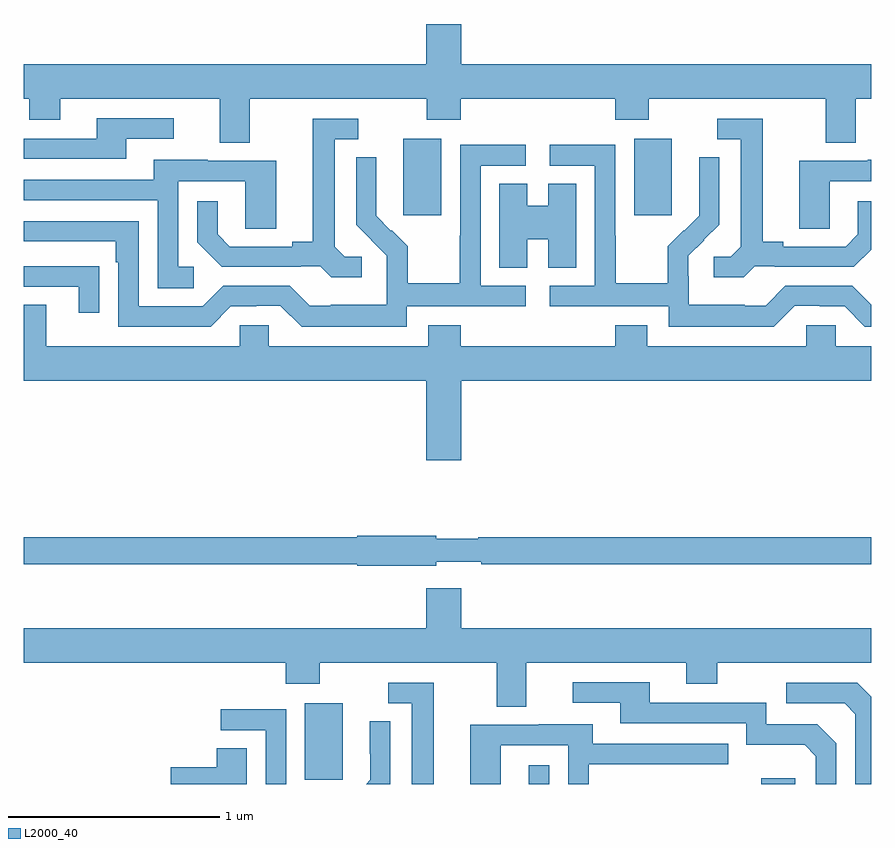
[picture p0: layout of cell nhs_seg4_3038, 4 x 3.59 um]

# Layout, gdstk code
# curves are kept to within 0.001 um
import gdstk
lib = gdstk.Library(unit=1e-6, precision=1e-09)
def R(c, l, rs):  # rectangles x0, y0, x1, y1
    for r in rs: c.add(gdstk.rectangle(r[:2], r[2:], *l))
def P(c, l, *ps):  # polygons
    for p in ps: c.add(gdstk.Polygon(p, *l))
L2000_40 = (2000, 40)

nhs_seg4_3038 = lib.new_cell('nhs_seg4_3038')
R(nhs_seg4_3038, L2000_40, [(273.383,810.9,273.48,810.988), (274.481,810.9,274.642,810.928), (272.327,810.921,272.506,811.282), (272.792,813.585,272.971,813.946), (273.881,813.585,274.06,813.946)])
P(nhs_seg4_3038, L2000_40, [(272.065,814.136),(272.902,814.136),(272.902,814.037),(273.062,814.037),(273.062,814.136),(273.791,814.136),(273.791,814.037),(273.951,814.037),(273.951,814.136),(274.787,814.136),(274.787,813.928),(274.927,813.928),(274.927,814.136),(275,814.136),(275,814.3),(273.064,814.3),(273.064,814.489),(272.9,814.489),(272.9,814.3),(271,814.3),(271,814.136),(271.024,814.136),(271.024,814.037),(271.171,814.037),(271.171,814.136),(271.925,814.136),(271.925,813.928),(272.065,813.928)],
  [(271.483,813.948),(271.708,813.948),(271.708,814.044),(271.343,814.044),(271.343,813.948),(271,813.948),(271,813.852),(271.483,813.852)],
  [(274.452,813.345),(274.546,813.345),(274.546,813.342),(274.918,813.342),(275,813.424),(275,813.652),(274.937,813.652),(274.937,813.495),(274.88,813.438),(274.585,813.438),(274.585,813.461),(274.489,813.461),(274.489,814.041),(274.275,814.041),(274.275,813.945),(274.385,813.945),(274.385,813.437),(274.338,813.39),(274.257,813.39),(274.257,813.293),(274.4,813.293)],
  [(272.596,813.39),(272.514,813.39),(272.467,813.437),(272.467,813.945),(272.578,813.945),(272.578,814.041),(272.363,814.041),(272.363,813.461),(272.267,813.461),(272.267,813.438),(271.972,813.438),(271.915,813.495),(271.915,813.652),(271.818,813.652),(271.818,813.458),(271.934,813.342),(272.306,813.342),(272.306,813.345),(272.4,813.345),(272.452,813.293),(272.596,813.293)],
  [(274.641,813.159),(274.757,813.159),(274.757,813.156),(274.875,813.156),(274.971,813.06),(275,813.06),(275,813.163),(274.911,813.252),(274.596,813.252),(274.503,813.159),(274.403,813.159),(274.403,813.163),(274.14,813.163),(274.14,813.297),(274.138,813.297),(274.138,813.394),(274.284,813.542),(274.284,813.86),(274.188,813.86),(274.188,813.706),(274.19,813.706),(274.19,813.584),(274.119,813.513),(274.116,813.516),(274.039,813.439),(274.039,813.265),(273.795,813.265),(273.795,813.488),(273.792,813.488),(273.792,813.918),(273.483,813.918),(273.483,813.819),(273.696,813.819),(273.696,813.252),(273.483,813.252),(273.483,813.156),(274.044,813.156),(274.044,813.059),(274.541,813.059)],
  [(272.808,813.156),(273.37,813.156),(273.37,813.252),(273.156,813.252),(273.156,813.819),(273.37,813.819),(273.37,813.918),(273.06,813.918),(273.06,813.488),(273.058,813.488),(273.058,813.265),(272.813,813.265),(272.813,813.439),(272.736,813.516),(272.733,813.513),(272.663,813.584),(272.664,813.86),(272.568,813.86),(272.568,813.542),(272.714,813.394),(272.714,813.297),(272.712,813.297),(272.712,813.163),(272.449,813.163),(272.449,813.159),(272.349,813.159),(272.256,813.252),(271.941,813.252),(271.845,813.156),(271.542,813.156),(271.542,813.558),(271,813.558),(271,813.462),(271.433,813.462),(271.433,813.365),(271.446,813.365),(271.446,813.06),(271.881,813.06),(271.977,813.156),(272.096,813.156),(272.096,813.159),(272.211,813.159),(272.311,813.059),(272.808,813.059)],
  [(274.806,813.747),(275,813.747),(275,813.847),(274.985,813.847),(274.985,813.843),(274.661,813.843),(274.661,813.523),(274.806,813.523)],
  [(271.801,813.342),(271.728,813.342),(271.728,813.747),(272.046,813.747),(272.046,813.523),(272.191,813.523),(272.191,813.843),(271.867,813.843),(271.867,813.847),(271.613,813.847),(271.613,813.753),(271,813.753),(271,813.657),(271.632,813.657),(271.632,813.241),(271.801,813.241)],
  [(273.376,813.473),(273.476,813.473),(273.476,813.337),(273.607,813.337),(273.607,813.734),(273.476,813.734),(273.476,813.631),(273.376,813.631),(273.376,813.734),(273.245,813.734),(273.245,813.337),(273.376,813.337)],
  [(271.355,813.344),(271.253,813.344),(271.253,813.345),(271,813.345),(271,813.249),(271.259,813.249),(271.259,813.126),(271.355,813.126)],
  [(273.064,812.804),(275,812.804),(275,812.968),(274.833,812.968),(274.833,813.066),(274.695,813.066),(274.695,812.968),(273.943,812.968),(273.943,813.067),(273.791,813.067),(273.791,812.968),(273.062,812.968),(273.062,813.067),(272.909,813.067),(272.909,812.968),(272.157,812.968),(272.157,813.066),(272.019,813.066),(272.019,812.968),(271.105,812.968),(271.105,813.163),(271,813.163),(271,812.804),(272.9,812.804),(272.9,812.43),(273.064,812.43)],
  [(272.946,811.95),(273.16,811.95),(273.16,811.938),(275,811.938),(275,812.066),(273.146,812.066),(273.146,812.059),(272.946,812.059),(272.946,812.072),(272.574,812.072),(272.574,812.066),(271,812.066),(271,811.938),(272.574,811.938),(272.574,811.93),(272.946,811.93)],
  [(273.373,811.472),(274.127,811.472),(274.127,811.373),(274.275,811.373),(274.275,811.472),(275,811.472),(275,811.636),(273.064,811.636),(273.064,811.825),(272.9,811.825),(272.9,811.636),(271,811.636),(271,811.472),(272.237,811.472),(272.237,811.373),(272.397,811.373),(272.397,811.472),(273.233,811.472),(273.233,811.264),(273.373,811.264)],
  [(274.836,811.092),(274.746,811.182),(274.506,811.182),(274.506,811.284),(273.955,811.284),(273.955,811.38),(273.591,811.38),(273.591,811.284),(273.815,811.284),(273.815,811.188),(274.41,811.188),(274.41,811.085),(274.687,811.085),(274.74,811.032),(274.74,810.9),(274.836,810.9)],
  [(272.935,811.377),(272.721,811.377),(272.721,811.281),(272.831,811.281),(272.831,810.9),(272.935,810.9)],
  [(275,811.312),(274.935,811.377),(274.599,811.377),(274.599,811.281),(274.875,811.281),(274.926,811.23),(274.926,810.9),(275,810.9)],
  [(272.238,811.254),(271.929,811.254),(271.929,811.155),(272.142,811.155),(272.142,810.9),(272.238,810.9)],
  [(272.73,811.196),(272.634,811.196),(272.634,811.042),(272.636,811.042),(272.636,810.92),(272.616,810.9),(272.73,810.9)],
  [(273.252,811.083),(273.57,811.083),(273.57,810.9),(273.666,810.9),(273.666,810.993),(274.325,810.993),(274.325,811.089),(273.685,811.089),(273.685,811.183),(273.431,811.183),(273.431,811.179),(273.107,811.179),(273.107,810.9),(273.252,810.9)],
  [(272.053,811.07),(271.91,811.07),(271.91,810.98),(271.692,810.98),(271.692,810.9),(272.053,810.9)])

lib.write_gds('nhs_seg4_3038.gds')
